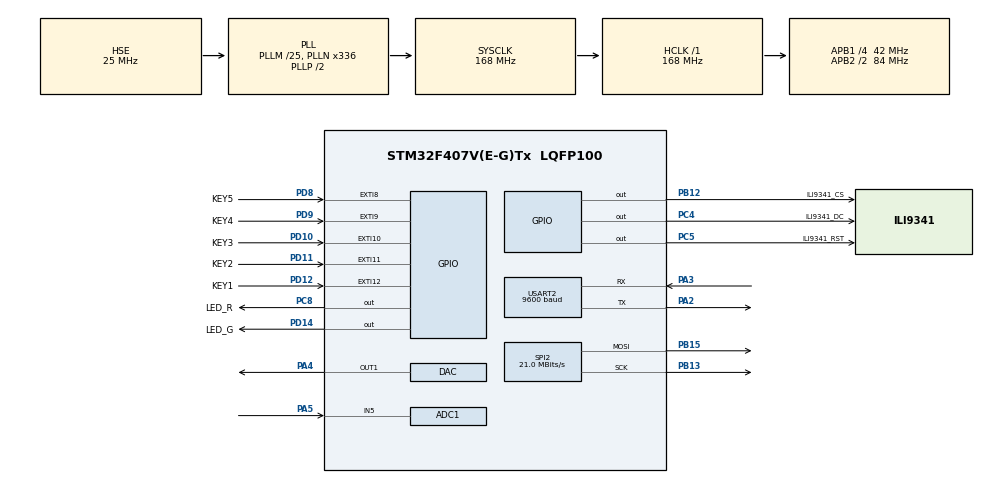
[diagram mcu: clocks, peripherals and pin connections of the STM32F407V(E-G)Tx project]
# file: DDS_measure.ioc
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ADC1.Channel-8\#ChannelRegularConversion=ADC_CHANNEL_5
ADC1.ExternalTrigConv=ADC_EXTERNALTRIGCONV_T3_TRGO
ADC1.NbrOfConversionFlag=1
ADC1.Rank-8\#ChannelRegularConversion=1
ADC1.SamplingTime-8\#ChannelRegularConversion=ADC_SAMPLETIME_3CYCLES
ADC1.master=1
DAC.DAC_OutputBuffer=DAC_OUTPUTBUFFER_ENABLE
DAC.DAC_Trigger=DAC_TRIGGER_T8_TRGO
Dma.ADC1.1.Direction=DMA_PERIPH_TO_MEMORY
Dma.ADC1.1.FIFOMode=DMA_FIFOMODE_DISABLE
Dma.ADC1.1.Instance=DMA2_Stream0
Dma.ADC1.1.MemDataAlignment=DMA_MDATAALIGN_HALFWORD
Dma.ADC1.1.MemInc=DMA_MINC_ENABLE
Dma.ADC1.1.Mode=DMA_NORMAL
Dma.ADC1.1.PeriphDataAlignment=DMA_PDATAALIGN_HALFWORD
Dma.ADC1.1.PeriphInc=DMA_PINC_DISABLE
Dma.ADC1.1.Priority=DMA_PRIORITY_LOW
Dma.DAC1.0.Direction=DMA_MEMORY_TO_PERIPH
Dma.DAC1.0.FIFOMode=DMA_FIFOMODE_DISABLE
Dma.DAC1.0.Instance=DMA1_Stream5
Dma.DAC1.0.MemDataAlignment=DMA_MDATAALIGN_WORD
Dma.DAC1.0.MemInc=DMA_MINC_ENABLE
Dma.DAC1.0.Mode=DMA_CIRCULAR
Dma.DAC1.0.PeriphDataAlignment=DMA_PDATAALIGN_WORD
Dma.DAC1.0.PeriphInc=DMA_PINC_DISABLE
Dma.DAC1.0.Priority=DMA_PRIORITY_HIGH
Dma.Request0=DAC1
Dma.Request1=ADC1
Mcu.Family=STM32F4
Mcu.Name=STM32F407V(E-G)Tx
Mcu.Package=LQFP100
NVIC.ADC_IRQn=true\:0\:0\:false\:false\:true\:true\:true\:true
NVIC.DMA1_Stream5_IRQn=true\:0\:0\:false\:false\:true\:false\:true\:true
NVIC.DMA2_Stream0_IRQn=true\:0\:0\:false\:false\:true\:false\:true\:true
NVIC.EXTI15_10_IRQn=true\:1\:0\:true\:false\:true\:true\:true\:true
NVIC.EXTI9_5_IRQn=true\:1\:0\:true\:false\:true\:true\:true\:true
NVIC.PriorityGroup=NVIC_PRIORITYGROUP_4
NVIC.TIM3_IRQn=true\:0\:0\:false\:false\:true\:true\:true\:true
NVIC.USART2_IRQn=true\:0\:0\:false\:false\:true\:true\:true\:true
PA13.Mode=Serial_Wire
PA13.Signal=SYS_JTMS-SWDIO
PA14.Mode=Serial_Wire
PA14.Signal=SYS_JTCK-SWCLK
PA2.GPIO_PuPd=GPIO_PULLUP
PA2.Mode=Asynchronous
PA2.Signal=USART2_TX
PA3.GPIO_PuPd=GPIO_PULLUP
PA3.Mode=Asynchronous
PA3.Signal=USART2_RX
PA4.Signal=COMP_DAC1_group
PA5.Signal=ADCx_IN5
PB12.GPIO_Label=ILI9341_CS
PB12.GPIO_Speed=GPIO_SPEED_FREQ_VERY_HIGH
PB12.Signal=GPIO_Output
PB13.Mode=TX_Only_Simplex_Unidirect_Master
PB13.Signal=SPI2_SCK
PB15.Mode=TX_Only_Simplex_Unidirect_Master
PB15.Signal=SPI2_MOSI
PC4.GPIO_Label=ILI9341_DC
PC4.GPIO_Speed=GPIO_SPEED_FREQ_VERY_HIGH
PC4.Signal=GPIO_Output
PC5.GPIO_Label=ILI9341_RST
PC5.GPIO_Speed=GPIO_SPEED_FREQ_VERY_HIGH
PC5.Signal=GPIO_Output
PC8.GPIO_Label=LED_R
PC8.GPIO_PuPd=GPIO_PULLDOWN
PC8.Signal=GPIO_Output
PD10.GPIO_Label=KEY3
PD10.GPIO_PuPd=GPIO_PULLUP
PD10.Signal=GPXTI10
PD11.GPIO_Label=KEY2
PD11.GPIO_PuPd=GPIO_PULLUP
PD11.Signal=GPXTI11
PD12.GPIO_Label=KEY1
PD12.GPIO_PuPd=GPIO_PULLUP
PD12.Signal=GPXTI12
PD14.GPIO_Label=LED_G
PD14.GPIO_PuPd=GPIO_PULLDOWN
PD14.Signal=GPIO_Output
PD8.GPIO_Label=KEY5
PD8.GPIO_PuPd=GPIO_PULLUP
PD8.Signal=GPXTI8
PD9.GPIO_Label=KEY4
PD9.GPIO_PuPd=GPIO_PULLUP
PD9.Signal=GPXTI9
PH0-OSC_IN.Mode=HSE-External-Oscillator
PH0-OSC_IN.Signal=RCC_OSC_IN
PH1-OSC_OUT.Mode=HSE-External-Oscillator
PH1-OSC_OUT.Signal=RCC_OSC_OUT
ProjectManager.HeapSize=0x200
ProjectManager.StackSize=0x400
ProjectManager.TargetToolchain=MDK-ARM V5.32
RCC.48MHZClocksFreq_Value=84000000
RCC.AHBFreq_Value=168000000
RCC.APB1CLKDivider=RCC_HCLK_DIV4
RCC.APB1Freq_Value=42000000
RCC.APB1TimFreq_Value=84000000
RCC.APB2CLKDivider=RCC_HCLK_DIV2
RCC.APB2Freq_Value=84000000
RCC.APB2TimFreq_Value=168000000
RCC.CortexFreq_Value=168000000
RCC.HCLKFreq_Value=168000000
RCC.HSE_VALUE=25000000
RCC.HSI_VALUE=16000000
RCC.LSE_VALUE=32768
RCC.PLLM=25
RCC.PLLN=336
RCC.PLLSourceVirtual=RCC_PLLSOURCE_HSE
RCC.SYSCLKFreq_VALUE=168000000
RCC.SYSCLKSource=RCC_SYSCLKSOURCE_PLLCLK
RCC.VCOOutputFreq_Value=336000000
SH.ADCx_IN5.0=ADC1_IN5,IN5
SH.COMP_DAC1_group.0=DAC_OUT1,DAC_OUT1
SPI2.BaudRatePrescaler=SPI_BAUDRATEPRESCALER_2
SPI2.CalculateBaudRate=21.0 MBits/s
SPI2.Direction=SPI_DIRECTION_2LINES
SPI2.Mode=SPI_MODE_MASTER
SPI2.VirtualType=VM_MASTER
STMicroelectronics.X-CUBE-ALGOBUILD.1.4.0.LibraryCcDSPOoLibraryJjDSPOoLibrary=true
TIM3.AutoReloadPreload=TIM_AUTORELOAD_PRELOAD_ENABLE
TIM3.Period=840 - 1
TIM3.TIM_MasterOutputTrigger=TIM_TRGO_UPDATE
TIM8.Period=21 - 1
TIM8.TIM_MasterOutputTrigger=TIM_TRGO_UPDATE
USART2.BaudRate=9600
USART2.VirtualMode=VM_ASYNC
VP_STMicroelectronics.X-CUBE-ALGOBUILD_VS_DSPOoLibraryJjLibrary_1.4.0_1.4.0.Mode=DSPOoLibraryJjLibrary
VP_TIM3_VS_ClockSourceINT.Mode=Internal
VP_TIM8_VS_ClockSourceINT.Mode=Internal
board=custom

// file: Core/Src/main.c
/* USER CODE BEGIN Header */
/**
  ******************************************************************************
  * @file           : main.c
  * @brief          : Main program body
  ******************************************************************************
  * @attention
  *
  * Copyright (c) 2025 STMicroelectronics.
  * All rights reserved.
  *
  * This software is licensed under terms that can be found in the LICENSE file
  * in the root directory of this software component.
  * If no LICENSE file comes with this software, it is provided AS-IS.
  *
  ******************************************************************************
  */
/* USER CODE END Header */
#include "main.h"
#include "adc.h"
#include "dac.h"
#include "dma.h"
#include "spi.h"
#include "tim.h"
#include "usart.h"
#include "gpio.h"

/* USER CODE BEGIN Includes */
#include "Delay.h"
#include "LCDAPI.h"
#include "DDS.h"
#include "FFT.h"
/* USER CODE END Includes */

/* USER CODE BEGIN PV */
extern DDS_TypeDef DDS;
extern float freamp[50];
extern uint16_t ADCbuff[FFT_SIZE];		// 采样数据
extern float fft_outputbuf[FFT_SIZE];	// 保存FFT后的幅值
extern float window[FFT_SIZE]; 			// 窗函数
extern float windowdata[FFT_SIZE]; 		// 窗函数处理后的数据
extern float biasVoltage;				// 直流偏置电压
extern float mainFreq;					// 基波频率
extern float Vopp;						// 峰峰值
extern float Duty;						// 占空比
extern uint16_t ADCbuff[FFT_SIZE];		// 采样数据
extern uint32_t sampleRate;				// 采样率
uint8_t ADCready = 0;
uint8_t measureFlag = 0;				// 频率测量精度标识符，0为粗测，1为精测
uint8_t WAVE;
/* USER CODE END PV */

void SystemClock_Config(void);

/* USER CODE BEGIN 0 */

/**
 * @brief       识别波形
 * @param       无
 * @retval      WAVE枚举类型{SINE_WAVE, SQUARE_WAVE, TRIANGLE_WAVE, RECT_WAVE}
 */
uint8_t identifyWaveType()
{
	float max = 0;
	float min = 4095;
	int i;
	uint32_t average = 0;

	for(i = 0; i < FFT_SIZE; ++i)
	{
		if(ADCbuff[i] > max)
			max = ADCbuff[i];
		if(ADCbuff[i] < min)
			min = ADCbuff[i];

		average += ADCbuff[i];
	}
	// 粗测得到直流偏置
	biasVoltage = (float)average / (float)FFT_SIZE;

	uint16_t mid = max - (max - min) / 4;
	// 首先识别方波/矩形波
	uint16_t mid_1 = max - 0.2f * (max - min);
	uint16_t mid_2 = min + 0.2f * (max - min);
	uint16_t high = 0;
	uint16_t low = 0;
	int temp_1 = 0;
	int temp_2 = 0;

	for(i = 0; i < FFT_SIZE; ++i)
	{
		if(mid_1 > ADCbuff[i] && ADCbuff[i] > mid_2)
			temp_1++;
		if(ADCbuff[i] > mid)
			temp_2++;

		// 顺便计算占空比
		if(ADCbuff[i] > biasVoltage)
			high++;
		if(ADCbuff[i] < biasVoltage)
			low++;
	}

	Duty = (float)high / (float)(high + low);

	// 留一些误差的余量
	if(temp_1 < 50)
	{
		// 分析占空比
		if(0.485f < Duty && Duty < 0.515f)
			return SQUARE_WAVE;
		else
			return RECT_WAVE;
	}

	// 判断正弦波与三角波
	float ratio = (float)temp_2 / (float)FFT_SIZE;
	if(ratio > 0.30f)
		return SINE_WAVE;
	else
		return TRIANGLE_WAVE;
}
/* USER CODE END 0 */

int main(void)
{

  /* USER CODE BEGIN 1 */
  int i;		// 计数器
  /* USER CODE END 1 */

  /* MCU Configuration--------------------------------------------------------*/

  /* Reset of all peripherals, Initializes the Flash interface and the Systick. */
  HAL_Init();

  /* USER CODE BEGIN Init */
  delay_init(168);
  /* USER CODE END Init */

  /* Configure the system clock */
  SystemClock_Config();

  /* Initialize all configured peripherals */
  MX_GPIO_Init();
  MX_DMA_Init();
  MX_SPI2_Init();
  MX_DAC_Init();
  MX_TIM8_Init();
  MX_USART2_UART_Init();
  MX_ADC1_Init();
  MX_TIM3_Init();
  /* USER CODE BEGIN 2 */
  LCD_Init();

  // DDS初始状态：幅值为1.0V，频率为100Hz的正弦波，直流偏置为0.2V
  DDS.amp = 1.0;
  DDS.freq = 100;
  DDS.duty = 0.5;
  DDS.waveType = SINE_WAVE;
  DDS.offset = 0.2;
  DDS_Start();

  printf("start\r\n");

  LCD_Disp_Text(10, 130, LCD_COLOR_BLACK, 3, ASCII5x7, "MEASURING...");

//  LCD_Disp_Text(10, 10, LCD_COLOR_BLACK, 3, ASCII5x7, "Succeed!");
//  LCD_Disp_Text(15, 90, LCD_COLOR_BLACK, 2, ASCII5x7, "WAVE: ");
//  LCD_Disp_Text(15, 120, LCD_COLOR_BLACK, 2, ASCII5x7, "FREQ: ");
//  LCD_Disp_Text(15, 150, LCD_COLOR_BLACK, 2, ASCII5x7, "Vopp: ");
//  LCD_Disp_Text(15, 180, LCD_COLOR_BLACK, 2, ASCII5x7, "Offset: ");
//  LCD_Disp_Text(15, 210, LCD_COLOR_BLACK, 2, ASCII5x7, "Duty: ");

  HAL_TIM_Base_Start(&htim3);
  HAL_ADC_Start_DMA(&hadc1, (uint32_t *)ADCbuff, FFT_SIZE);

  /* USER CODE END 2 */

  /* Infinite loop */
  /* USER CODE BEGIN WHILE */
  while (1)
  {
	if(ADCready)
	{
		ADCready = 0;

		// 粗测频率
		TIM3->PSC = 0;
		TIM3->ARR = 840 - 1;
		FFT_start();

		if(!measureFlag)
		{
			// 粗测时采样频率较高，对波形一个周期内采样点数较多，计算峰峰值更准确
			// 因此先计算峰峰值再精测频率
			WAVE = identifyWaveType();

			float max = 0;
			float min = 4096;
			for(i = 0; i < FFT_SIZE; ++i)
			{
				if(ADCbuff[i] > max)
					max = ADCbuff[i];

				// ADCbuff[i] > 150 是因为dac输出给了一个 0.2V 电压的抬升，来保证波形不失真
				if(ADCbuff[i] < min && ADCbuff[i] > 150)
					min = ADCbuff[i];
			}
			Vopp = ((float)max - (float)min) / 4095.0f * 3.3f;

			if(mainFreq > 5000.0f)
			{
				measureFlag = 2;
				sampleRate = 100000;
			}
			else if(mainFreq > 1000.0f)
			{
				measureFlag = 1;
				TIM3->ARR = 4200 - 1;
				sampleRate = 20000;
			}
			else if(mainFreq > 500.0f)
			{
				measureFlag = 1;
				TIM3->ARR = 8400 - 1;
				TIM3->PSC = 2 - 1;
				sampleRate = 5000;
			}
			else
			{
				measureFlag = 1;
				TIM3->ARR = 2000 - 1;
				TIM3->PSC = 21 - 1;
				sampleRate = 2000;
			}
		}

		// 精测后运行以下代码
		if(measureFlag == 2)
		{
//			for(i = 0; i < FFT_SIZE; ++i)
//			{
//				printf("%.2f, ", fft_outputbuf[i]);
//			}

			// 输出数据
			FFT_getValue();

			LCD_FillScreen(LCD_COLOR_WHITE);
			LCD_Disp_Text(10, 10, LCD_COLOR_BLACK, 3, ASCII5x7, "Succeed!");
			LCD_Disp_Text(15, 90, LCD_COLOR_BLACK, 2, ASCII5x7, "WAVE: ");
			LCD_Disp_Text(15, 120, LCD_COLOR_BLACK, 2, ASCII5x7, "FREQ: ");
			LCD_Disp_Text(15, 150, LCD_COLOR_BLACK, 2, ASCII5x7, "Vopp: ");
			LCD_Disp_Text(15, 180, LCD_COLOR_BLACK, 2, ASCII5x7, "Offset: ");
			LCD_Disp_Text(15, 210, LCD_COLOR_BLACK, 2, ASCII5x7, "Duty: ");

			switch(WAVE){
				case SINE_WAVE:
					LCD_Disp_Text(85, 90, LCD_COLOR_BLACK, 2, ASCII5x7, "Sine wave");
					LCD_Disp_Text(85, 210, LCD_COLOR_BLACK, 2, ASCII5x7, "NONE");
					break;
				case SQUARE_WAVE:
					LCD_Disp_Text(85, 90, LCD_COLOR_BLACK, 2, ASCII5x7, "Square wave");
					LCD_Disp_Decimal(85, 210, LCD_COLOR_BLACK, 2, ASCII5x7, (double)Duty * 100, 2, 2);
					LCD_Draw_Char(150, 210, LCD_COLOR_BLACK, 2, ASCII5x7, '%');
					break;
				case TRIANGLE_WAVE:
					LCD_Disp_Text(85, 90, LCD_COLOR_BLACK, 2, ASCII5x7, "Triangle wave");
					LCD_Disp_Text(85, 210, LCD_COLOR_BLACK, 2, ASCII5x7, "Not measure");
					break;
				case RECT_WAVE:
					LCD_Disp_Text(85, 90, LCD_COLOR_BLACK, 2, ASCII5x7, "Rect wave");
					LCD_Disp_Decimal(85, 210, LCD_COLOR_BLACK, 2, ASCII5x7, (double)Duty * 100, 2, 2);
					LCD_Draw_Char(150, 210, LCD_COLOR_BLACK, 2, ASCII5x7, '%');
					break;
				default: break;
			}

			// 判断频率整数位数
			int intnum = 0;
			int temp = (int)mainFreq;
			while(temp > 0)
			{
				intnum++;
				temp /= 10;
			}

			LCD_Disp_Decimal(85, 120, LCD_COLOR_BLACK, 2, ASCII5x7, (double)mainFreq, intnum, 2);
			LCD_Disp_Text(130 + intnum * 10, 120, LCD_COLOR_BLACK, 2, ASCII5x7, "Hz");

			LCD_Disp_Decimal(85, 150, LCD_COLOR_BLACK, 2, ASCII5x7, (double)Vopp, 1, 2);
			LCD_Disp_Text(140, 150, LCD_COLOR_BLACK, 2, ASCII5x7, "V");

			LCD_Disp_Decimal(105, 180, LCD_COLOR_BLACK, 2, ASCII5x7, (double)biasVoltage, 1, 2);
			LCD_Disp_Text(160, 180, LCD_COLOR_BLACK, 2, ASCII5x7, "V");

			// 重置测量标识符
			measureFlag = 0;
		}
		// 开启精测模式
		else if(measureFlag == 1)
		{
			LCD_FillScreen(LCD_COLOR_WHITE);
			LCD_Disp_Text(10, 130, LCD_COLOR_BLACK, 3, ASCII5x7, "MEASURING...");
			measureFlag = 2;

			HAL_TIM_Base_Start(&htim3);
			HAL_ADC_Start_DMA(&hadc1, (uint32_t *)ADCbuff, FFT_SIZE);
		}
	}
    /* USER CODE END WHILE */

  }
}

void SystemClock_Config(void)
{
  RCC_OscInitTypeDef RCC_OscInitStruct = {0};
  RCC_ClkInitTypeDef RCC_ClkInitStruct = {0};

  /** Configure the main internal regulator output voltage
  */
  __HAL_RCC_PWR_CLK_ENABLE();
  __HAL_PWR_VOLTAGESCALING_CONFIG(PWR_REGULATOR_VOLTAGE_SCALE1);

  /** Initializes the RCC Oscillators according to the specified parameters
  * in the RCC_OscInitTypeDef structure.
  */
  RCC_OscInitStruct.OscillatorType = RCC_OSCILLATORTYPE_HSE;
  RCC_OscInitStruct.HSEState = RCC_HSE_ON;
  RCC_OscInitStruct.PLL.PLLState = RCC_PLL_ON;
  RCC_OscInitStruct.PLL.PLLSource = RCC_PLLSOURCE_HSE;
  RCC_OscInitStruct.PLL.PLLM = 25;
  RCC_OscInitStruct.PLL.PLLN = 336;
  RCC_OscInitStruct.PLL.PLLP = RCC_PLLP_DIV2;
  RCC_OscInitStruct.PLL.PLLQ = 4;
  if (HAL_RCC_OscConfig(&RCC_OscInitStruct) != HAL_OK)
  {
    Error_Handler();
  }

  /** Initializes the CPU, AHB and APB buses clocks
  */
  RCC_ClkInitStruct.ClockType = RCC_CLOCKTYPE_HCLK|RCC_CLOCKTYPE_SYSCLK
                              |RCC_CLOCKTYPE_PCLK1|RCC_CLOCKTYPE_PCLK2;
  RCC_ClkInitStruct.SYSCLKSource = RCC_SYSCLKSOURCE_PLLCLK;
  RCC_ClkInitStruct.AHBCLKDivider = RCC_SYSCLK_DIV1;
  RCC_ClkInitStruct.APB1CLKDivider = RCC_HCLK_DIV4;
  RCC_ClkInitStruct.APB2CLKDivider = RCC_HCLK_DIV2;

  if (HAL_RCC_ClockConfig(&RCC_ClkInitStruct, FLASH_LATENCY_5) != HAL_OK)
  {
    Error_Handler();
  }
}

void Error_Handler(void)
{
  __disable_irq();
  while (1)
  {
  }
}
